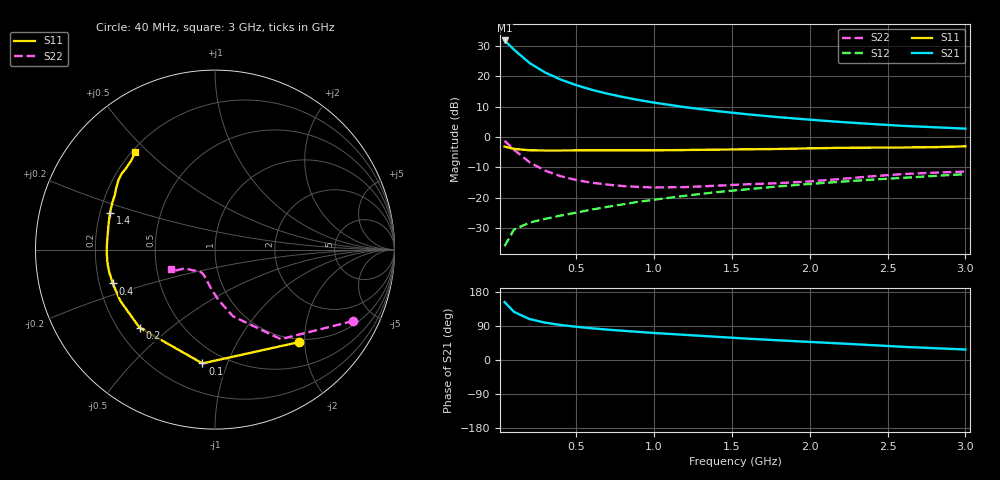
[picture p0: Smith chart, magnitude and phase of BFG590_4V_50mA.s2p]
! Filename:  BFG590E.S2P  Version:  4.0
! Philips part #: BFG590  Date: Jun 1994
! Bias condition: Vce=4V; Ic=50mA
#  MHz  S  MA  R  50
! Freq  S11  S21  S12  S22  !GUM [dB]
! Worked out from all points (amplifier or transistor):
!   21 points, 40 MHz to 3 GHz, reference 50 ohm
!   highest |S21| = 31.8 dB at 40 MHz (marker M1)
!   |S21| within 3 dB of that: start of sweep to 99.65 MHz
!   unconditionally stable (mu >= 1): 745.8 MHz to 2.575 GHz
!   at 300 MHz: K = 0.67, MSG = 24.1 dB, |S12| = -26.9 dB
!   at 1 GHz: K = 1.06, MAG = 14.4 dB, |S12| = -20.6 dB
!   at 3 GHz: K = 0.92, MSG = 7.5 dB, |S12| = -12.2 dB
!   S11 on the Smith chart (normalised r, x): 40 MHz: 0.94, -1.88; 100 MHz: 0.38, -0.82; 200 MHz: 0.29, -0.39; 400 MHz: 0.26, -0.15; 1.4 GHz: 0.24, +0.16; 3 GHz: 0.21, +0.46
40  0.696 -47.8  38.81 152.7  0.016 69.5  0.867 -27.3
100  0.638 -96.3  27.42 127.1  0.03 51.8  0.619 -53.7
200  0.605 -134.0  16.52 108.0  0.039 45.2  0.385 -74.9
300  0.6 -151.6  11.54 98.6  0.045 46.8  0.28 -86.2
400  0.6 -161.7  8.821 92.4  0.051 49.5  0.227 -94.1
500  0.603 -168.6  7.137 87.7  0.057 52.3  0.196 -100.2
600  0.604 -173.7  5.988 83.7  0.064 54.7  0.177 -105.0
700  0.603 -177.9  5.17 80.2  0.071 56.6  0.165 -109.3
800  0.603 178.3  4.554 77.1  0.078 58.1  0.156 -113.1
900  0.603 174.8  4.07 74.2  0.086 59.2  0.151 -116.8
1000  0.604 171.6  3.684 71.3  0.093 59.9  0.148 -120.6
1200  0.611 165.6  3.095 66.3  0.108 60.8  0.15 -127.3
1400  0.62 160.6  2.677 61.3  0.124 61.2  0.158 -132.0
1600  0.628 155.9  2.364 56.3  0.138 60.8  0.167 -135.6
1800  0.636 151.4  2.122 51.9  0.154 60.6  0.174 -139.4
2000  0.651 147.4  1.931 47.7  0.169 60.0  0.186 -144.2
2200  0.664 143.9  1.767 43.6  0.184 59.1  0.204 -148.5
2400  0.67 140.8  1.638 39.2  0.199 57.7  0.226 -150.6
2600  0.672 137.2  1.526 34.8  0.213 55.9  0.246 -151.8
2800  0.682 133.0  1.449 31.2  0.229 54.6  0.259 -153.1
3000  0.703 129.1  1.374 27.7  0.245 53.0  0.27 -156.3
